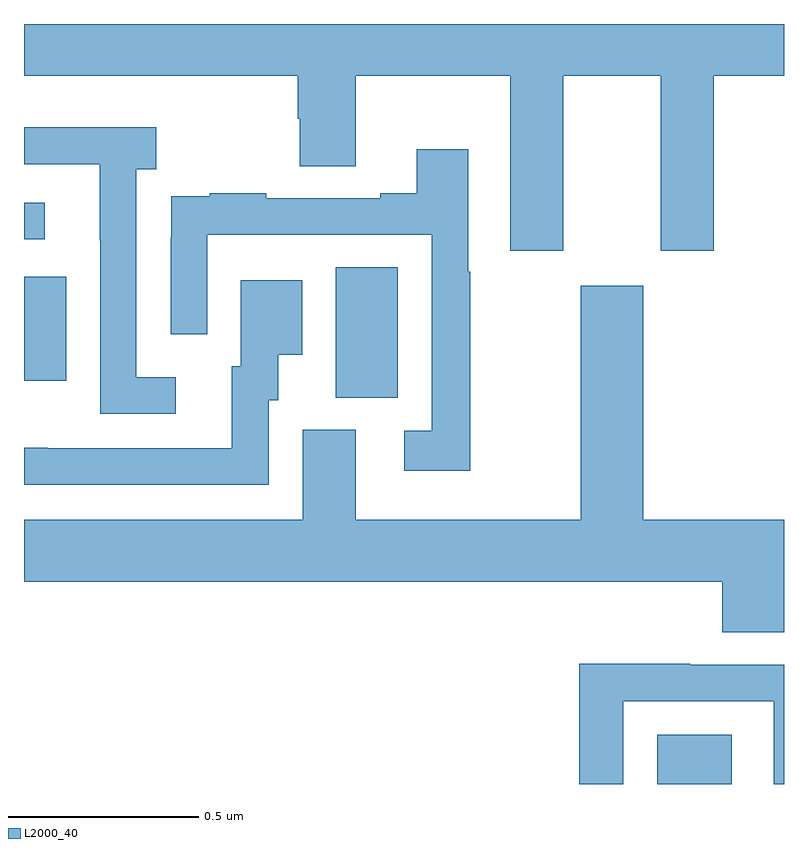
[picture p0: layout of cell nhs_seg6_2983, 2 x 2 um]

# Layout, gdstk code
import gdstk
lib = gdstk.Library(unit=1e-6, precision=1e-09)
def R(c, l, rs):  # rectangles x0, y0, x1, y1
    for r in rs: c.add(gdstk.rectangle(r[:2], r[2:], *l))
def P(c, l, *ps):  # polygons
    for p in ps: c.add(gdstk.Polygon(p, *l))
L2000_40 = (2000, 40)

nhs_seg6_2983 = lib.new_cell('nhs_seg6_2983')
R(nhs_seg6_2983, L2000_40, [(152.666,917.5,152.863,917.629), (151.82,918.517,151.984,918.86), (151,918.561,151.111,918.835), (151,918.933,151.054,919.029)])
P(nhs_seg6_2983, L2000_40, [(152.419,919.364),(152.675,919.364),(152.675,918.903),(152.815,918.903),(152.815,919.364),(153,919.364),(153,919.5),(151,919.5),(151,919.364),(151.721,919.364),(151.721,919.251),(151.726,919.251),(151.726,919.126),(151.873,919.126),(151.873,919.364),(152.279,919.364),(152.279,918.903),(152.419,918.903)],
  [(151.399,918.57),(151.296,918.57),(151.296,919.118),(151.348,919.118),(151.348,919.228),(151,919.228),(151,919.131),(151.199,919.131),(151.199,918.931),(151.2,918.931),(151.2,918.474),(151.399,918.474)],
  [(152.174,918.848),(152.169,918.848),(152.169,919.171),(152.033,919.171),(152.033,919.054),(151.937,919.054),(151.937,919.041),(151.637,919.041),(151.637,919.054),(151.489,919.054),(151.489,919.047),(151.387,919.047),(151.387,918.938),(151.386,918.938),(151.386,918.684),(151.482,918.684),(151.482,918.945),(152.073,918.945),(152.073,918.429),(152.001,918.429),(152.001,918.324),(152.174,918.324)],
  [(151.644,918.51),(151.669,918.51),(151.669,918.629),(151.732,918.629),(151.732,918.826),(151.571,918.826),(151.571,918.6),(151.547,918.6),(151.547,918.384),(151.063,918.384),(151.063,918.385),(151,918.385),(151,918.288),(151.644,918.288)],
  [(153,918.196),(152.629,918.196),(152.629,918.811),(152.465,918.811),(152.465,918.196),(151.873,918.196),(151.873,918.432),(151.733,918.432),(151.733,918.196),(151,918.196),(151,918.032),(152.837,918.032),(152.837,917.899),(153,917.899)],
  [(152.577,917.718),(152.973,917.718),(152.973,917.5),(153,917.5),(153,917.814),(152.753,917.814),(152.753,917.816),(152.461,917.816),(152.461,917.5),(152.577,917.5)])

lib.write_gds('nhs_seg6_2983.gds')
